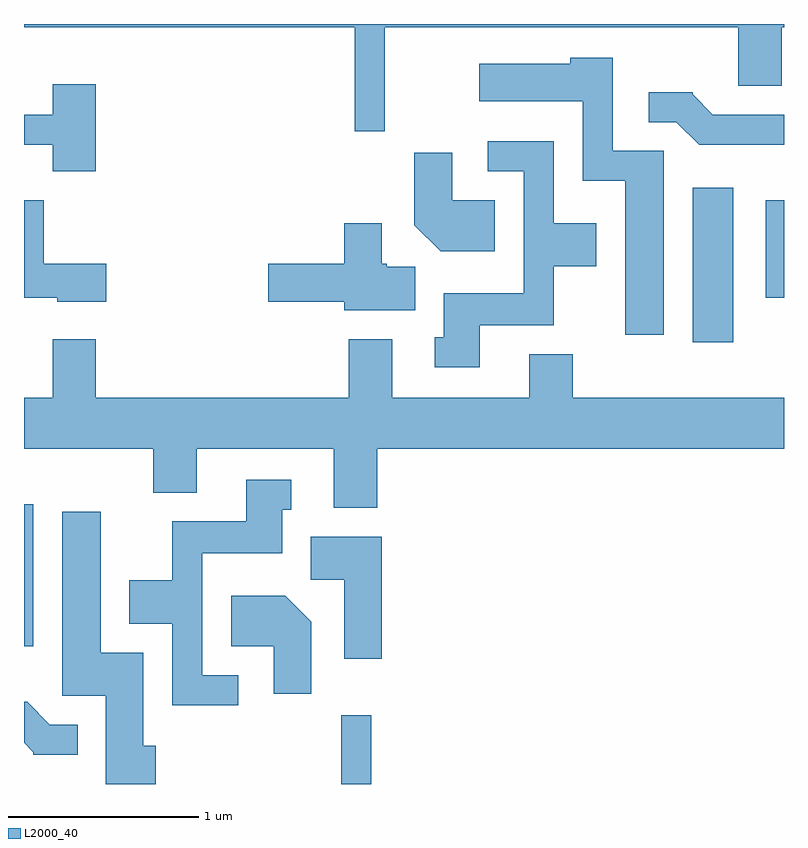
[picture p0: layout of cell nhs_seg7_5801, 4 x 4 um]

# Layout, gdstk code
import gdstk
lib = gdstk.Library(unit=1e-6, precision=1e-09)
def R(c, l, rs):  # rectangles x0, y0, x1, y1
    for r in rs: c.add(gdstk.rectangle(r[:2], r[2:], *l))
def P(c, l, *ps):  # polygons
    for p in ps: c.add(gdstk.Polygon(p, *l))
L2000_40 = (2000, 40)

nhs_seg7_5801 = lib.new_cell('nhs_seg7_5801')
R(nhs_seg7_5801, L2000_40, [(363.281,1790.252,363.439,1790.613), (361.611,1790.976,361.659,1791.724), (365.131,1792.576,365.344,1793.389), (365.516,1792.811,365.611,1793.324)])
P(nhs_seg7_5801, L2000_40, [(363.509,1794.236),(365.371,1794.236),(365.371,1793.926),(365.599,1793.926),(365.599,1794.236),(365.611,1794.236),(365.611,1794.252),(361.611,1794.252),(361.611,1794.236),(363.351,1794.236),(363.351,1793.688),(363.509,1793.688)],
  [(364.979,1793.584),(364.709,1793.584),(364.709,1794.074),(364.486,1794.074),(364.486,1794.044),(364.006,1794.044),(364.006,1793.846),(364.551,1793.846),(364.551,1793.426),(364.776,1793.426),(364.776,1792.616),(364.979,1792.616)],
  [(361.989,1793.934),(361.761,1793.934),(361.761,1793.774),(361.611,1793.774),(361.611,1793.616),(361.761,1793.616),(361.761,1793.476),(361.989,1793.476)],
  [(365.611,1793.774),(365.237,1793.774),(365.13,1793.881),(365.13,1793.894),(364.898,1793.894),(364.898,1793.736),(365.044,1793.736),(365.164,1793.616),(365.611,1793.616)],
  [(364.009,1792.666),(364.399,1792.666),(364.399,1792.976),(364.624,1792.976),(364.624,1793.204),(364.399,1793.204),(364.399,1793.634),(364.053,1793.634),(364.053,1793.476),(364.241,1793.476),(364.241,1792.834),(363.821,1792.834),(363.821,1792.604),(363.773,1792.604),(363.773,1792.446),(364.009,1792.446)],
  [(364.089,1793.324),(363.864,1793.324),(363.864,1793.574),(363.666,1793.574),(363.666,1793.194),(363.804,1793.056),(364.089,1793.056)],
  [(362.044,1792.989),(361.714,1792.989),(361.714,1793.324),(361.611,1793.324),(361.611,1792.811),(361.786,1792.811),(361.786,1792.791),(362.044,1792.791)],
  [(363.669,1792.974),(363.52,1792.974),(363.52,1792.989),(363.494,1792.989),(363.494,1793.204),(363.296,1793.204),(363.296,1792.989),(362.896,1792.989),(362.896,1792.791),(363.296,1792.791),(363.296,1792.746),(363.669,1792.746)],
  [(363.469,1792.016),(365.611,1792.016),(365.611,1792.284),(364.499,1792.284),(364.499,1792.514),(364.271,1792.514),(364.271,1792.284),(363.549,1792.284),(363.549,1792.594),(363.321,1792.594),(363.321,1792.284),(361.989,1792.284),(361.989,1792.594),(361.761,1792.594),(361.761,1792.284),(361.611,1792.284),(361.611,1792.016),(362.291,1792.016),(362.291,1791.786),(362.519,1791.786),(362.519,1792.016),(363.241,1792.016),(363.241,1791.706),(363.469,1791.706)],
  [(362.738,1790.824),(362.549,1790.824),(362.549,1791.466),(362.969,1791.466),(362.969,1791.696),(363.018,1791.696),(363.018,1791.854),(362.781,1791.854),(362.781,1791.634),(362.391,1791.634),(362.391,1791.324),(362.166,1791.324),(362.166,1791.096),(362.391,1791.096),(362.391,1790.666),(362.738,1790.666)],
  [(362.304,1790.454),(362.239,1790.454),(362.239,1790.944),(362.014,1790.944),(362.014,1791.684),(361.811,1791.684),(361.811,1790.716),(362.041,1790.716),(362.041,1790.252),(362.304,1790.252)],
  [(363.494,1791.554),(363.121,1791.554),(363.121,1791.326),(363.296,1791.326),(363.296,1790.911),(363.494,1790.911)],
  [(363.124,1791.107),(362.987,1791.244),(362.701,1791.244),(362.701,1790.976),(362.926,1790.976),(362.926,1790.726),(363.124,1790.726)],
  [(361.893,1790.564),(361.747,1790.564),(361.627,1790.684),(361.611,1790.684),(361.611,1790.469),(361.66,1790.42),(361.66,1790.406),(361.893,1790.406)])

lib.write_gds('nhs_seg7_5801.gds')
